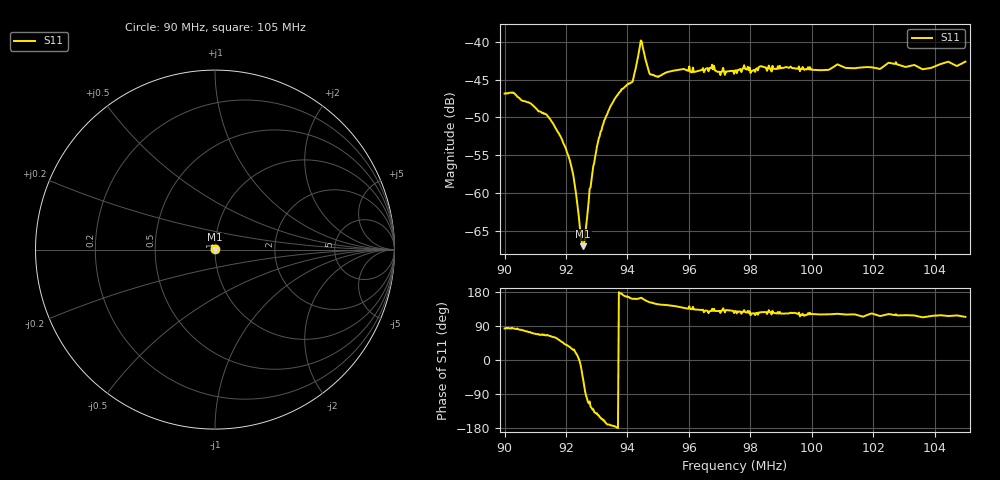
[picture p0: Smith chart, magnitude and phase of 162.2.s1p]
# HZ S RI R 50
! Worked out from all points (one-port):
!   505 points, 90 MHz to 105 MHz, reference 50 ohm
!   lowest |S11| = -67.0 dB at 92.56 MHz (marker M1), VSWR 1.00, Z = 50 - j0.0354 ohm
!   |S11| at or under -10 dB: start of sweep to end of sweep
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9e7  0.000528 0.00451
9.029762e7  0.000531 0.00455
9.136905e7  0.0014 0.00298
9.187501e7  0.00153 0.00163
9.220239e7  0.00123 0.000687
9.232144e7  0.00095 0.000313
9.250001e7  0.000446 -0.0002
9.255953e7  0.00027 -0.000353
9.261906e7  6.96e-05 -0.000496
9.282739e7  -0.000713 -0.000982
9.306549e7  -0.0019 -0.00128
9.336311e7  -0.00337 -0.000576
9.375001e7  -0.00465 0.000255
9.413692e7  -0.00512 0.00168
9.443454e7  -0.0098 0.0028
9.449406e7  -0.0088 0.00293
9.476192e7  -0.00533 0.0029
9.562502e7  -0.00504 0.00409
9.675597e7  -0.005 0.00497
9.696431e7  -0.00402 0.00488
9.750002e7  -0.00406 0.005
9.937503e7  -0.00372 0.00555
1.0125e8  -0.00337 0.00578
1.022024e8  -0.00295 0.00592
1.025298e8  -0.00372 0.00621
1.03125e8  -0.00323 0.00604
1.036608e8  -0.0026 0.00607
1.05e8  -0.00297 0.00676
